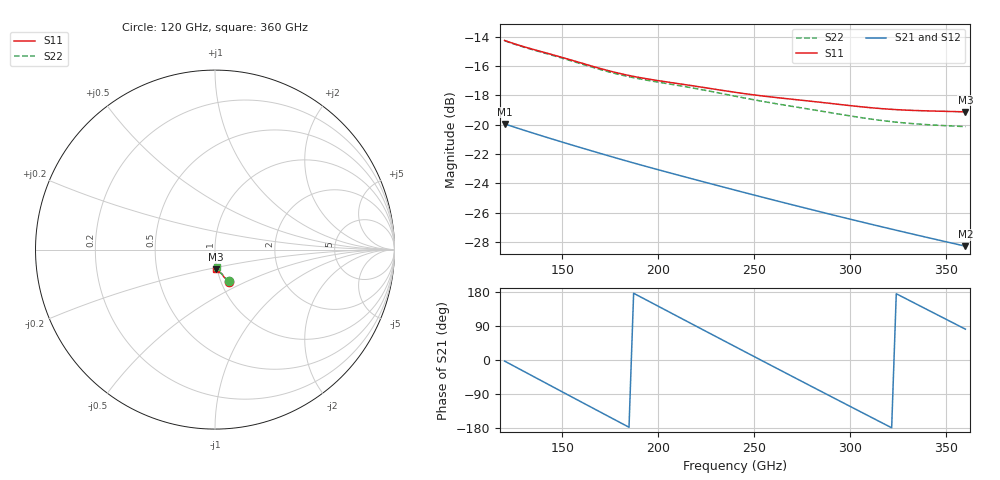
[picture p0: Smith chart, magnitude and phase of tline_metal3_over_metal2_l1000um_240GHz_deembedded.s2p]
! Created with skrf 2.2.0 (http://scikit-rf.org).
# GHz S DB R 50.0
! Port[1] = P1
! Port[2] = P2
!freq dBS11 angS11 dBS21 angS21 dBS12 angS12 dBS22 angS22
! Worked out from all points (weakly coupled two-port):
!   101 points, 120 GHz to 360 GHz, reference 50 ohm
!   highest |S21| = -19.96 dB at 120 GHz (marker M1); lowest = -28.3 dB at 360 GHz (marker M2)
!   lowest |S11| = -19.1 dB at 360 GHz (marker M3), VSWR 1.25, Z = 49.4 - j11 ohm
!   |S11| at or under -10 dB: start of sweep to end of sweep
!   |S22| runs from -20.1 to -14.3 dB; largest |S21 - S12| = 1.3e-13
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120  -14.27 -66.8  -19.96 -2.9  -19.96 -2.9  -14.28 -66.8
129.6  -14.68 -67.7  -20.37 -28.9  -20.37 -28.9  -14.71 -67.7
141.6  -15.12 -69.1  -20.86 -61.3  -20.86 -61.3  -15.16 -69.1
151.2  -15.47 -70.4  -21.24 -87.2  -21.24 -87.2  -15.52 -70.4
160.8  -15.84 -71.6  -21.62 -113.1  -21.62 -113.1  -15.90 -71.6
170.4  -16.20 -72.5  -21.99 -138.9  -21.99 -138.9  -16.27 -72.6
180  -16.52 -73.1  -22.35 -164.6  -22.35 -164.6  -16.60 -73.2
189.6  -16.78 -73.6  -22.71 169.7  -22.71 169.7  -16.87 -73.8
201.6  -17.04 -74.5  -23.14 137.7  -23.14 137.7  -17.15 -74.8
211.2  -17.23 -75.3  -23.47 112.1  -23.47 112.1  -17.35 -75.8
220.8  -17.42 -76.2  -23.81 86.5  -23.81 86.5  -17.58 -76.9
230.4  -17.61 -77.2  -24.14 61.0  -24.14 61.0  -17.82 -78.0
240  -17.80 -78.0  -24.47 35.5  -24.47 35.5  -18.06 -79.0
249.6  -17.97 -78.7  -24.79 10.1  -24.79 10.1  -18.31 -79.8
259.2  -18.13 -79.4  -25.12 -15.3  -25.12 -15.3  -18.53 -80.6
271.2  -18.30 -80.4  -25.52 -46.9  -25.52 -46.9  -18.79 -81.4
280.8  -18.43 -81.3  -25.83 -72.2  -25.83 -72.2  -19.00 -82.1
297.6  -18.68 -82.6  -26.37 -116.2  -26.37 -116.2  -19.36 -83.1
309.6  -18.84 -83.4  -26.76 -147.6  -26.76 -147.6  -19.60 -83.4
321.6  -18.96 -84.0  -27.13 -178.9  -27.13 -178.9  -19.80 -83.6
343.2  -19.08 -85.4  -27.79 124.9  -27.79 124.9  -20.03 -83.8
360  -19.14 -86.9  -28.29 81.4  -28.29 81.4  -20.14 -84.4
